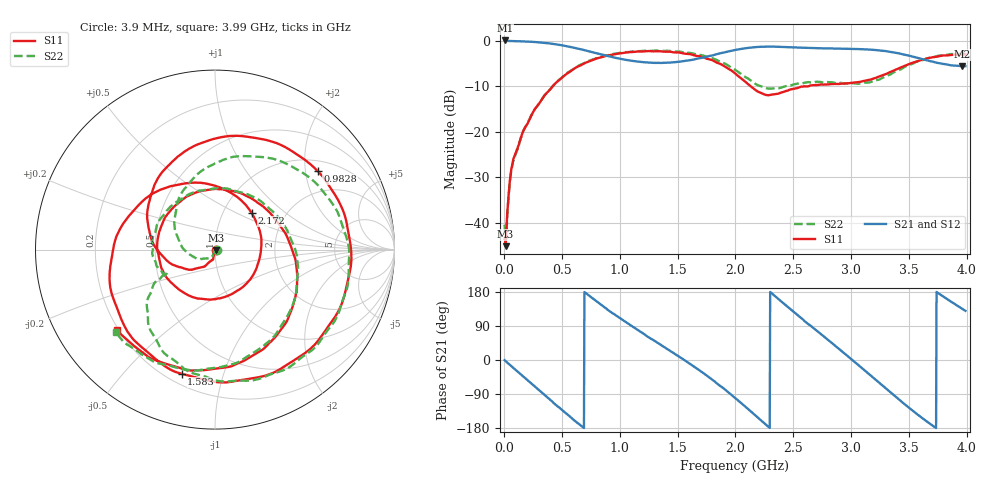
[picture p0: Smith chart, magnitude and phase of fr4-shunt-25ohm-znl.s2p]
#  HZ  S  RI  R  50.00
! Rohde & Schwarz Vector Network Analyzer
! Rohde-Schwarz,ZNL20-2Port,1323001220101312,1.72.1.6-23.02.1.246
! Created: UTC 10/8/2024, 7:02:22 PM
! freq[Hz]  re:S11  im:S11  re:S21  im:S21  re:S12  im:S12  re:S22  im:S22
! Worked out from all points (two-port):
!   1023 points, 3.9 MHz to 3.99 GHz, reference 50 ohm
!   highest |S21| = 0.04 dB at 7.8 MHz (marker M1); lowest = -5.6 dB at 3.962 GHz (marker M2)
!   |S21| within 3 dB of the highest: start of sweep to 831.6 MHz; 1.84 GHz to 3.442 GHz (1.602 GHz wide, 60.6 % of centre)
!   lowest |S11| = -45.1 dB at 11.7 MHz (marker M3), VSWR 1.01, Z = 50.4 - j0.406 ohm
!   |S11| at or under -10 dB: start of sweep to 420.9 MHz; 2.134 GHz to 2.632 GHz (498.4 MHz wide, 20.9 % of centre)
!   |S22| runs from -43.7 to -2.2 dB; largest |S21 - S12| = 0.022
!   S11 on the Smith chart (normalised r, x): 3.9 MHz: 1.01, -0.00; 982.8 MHz: 1.28, +2.33; 1.583 GHz: 0.26, -0.73; 2.172 GHz: 1.36, +0.61; 3.99 GHz: 0.20, -0.35
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3900000  0.00629 -0.00224  1.002 -0.00973  0.99 -0.0261  0.00937 -0.00195
7800000  0.00646 -0.00276  1.004 -0.0295  0.9854 -0.0363  0.00645 -0.00388
1.17e7  0.00386 -0.00403  0.9953 -0.049  0.9966 -0.0613  0.00425 -0.00492
8.19e7  -0.0101 -0.0503  0.9194 -0.3626  0.919 -0.3742  -0.0205 -0.0445
3.276e8  -0.2084 -0.0939  0.0603 -0.9495  0.0493 -0.9546  -0.2133 0.0827
5.109e8  -0.3743 0.1498  -0.6199 -0.6308  -0.6297 -0.6255  -0.1297 0.3866
6.708e8  -0.2396 0.4886  -0.7968 -0.0735  -0.8009 -0.0629  0.1772 0.5209
8.19e8  0.1331 0.6338  -0.6229 0.3554  -0.6203 0.3665  0.5064 0.4161
9.828e8  0.5713 0.4384  -0.2637 0.5832  -0.2572 0.5896  0.7161 0.1126
1.1583e9  0.7599 -0.0493  0.1146 0.5775  0.1235 0.5784  0.7201 -0.2587
1.3338e9  0.5465 -0.5385  0.409 0.3976  0.4176 0.3931  0.531 -0.5674
1.5834e9  -0.1855 -0.6919  0.6026 -0.0553  0.6048 -0.0659  0.0737 -0.7341
1.794e9  -0.5867 -0.1823  0.4357 -0.5291  0.4283 -0.5405  -0.2775 -0.5816
1.9968e9  -0.2689 0.3459  -0.1337 -0.7781  -0.1513 -0.7791  -0.3792 -0.2931
2.1723e9  0.2041 0.2048  -0.7044 -0.4743  -0.718 -0.4625  -0.2993 -0.1539
2.3829e9  0.0832 -0.2521  -0.7957 0.319  -0.7931 0.3369  -0.2701 -0.136
2.6637e9  -0.3223 0.0336  0.0403 0.8276  0.0564 0.8306  -0.3464 0.00386
2.9991e9  0.1282 0.3188  0.8105 0.0467  0.8143 0.0297  -0.1369 0.3123
3.3267e9  0.443 -0.0397  0.1112 -0.7503  0.0951 -0.756  0.4058 0.0978
3.6075e9  0.2747 -0.5493  -0.5535 -0.3053  -0.5662 -0.2949  0.2477 -0.5527
3.9624e9  -0.5011 -0.4934  -0.3709 0.3697  -0.3648 0.3829  -0.5211 -0.5005
3.9897e9  -0.5434 -0.4481  -0.3354 0.4038  -0.3289 0.4151  -0.5533 -0.4595
